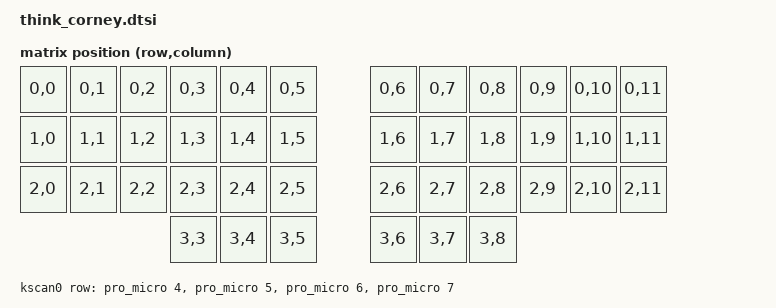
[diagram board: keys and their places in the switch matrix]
/*
 * Copyright (c) 2020 Pete Johanson
 *
 * SPDX-License-Identifier: MIT
 */

#include <dt-bindings/zmk/matrix_transform.h>

/ {
	chosen {
		zmk,kscan = &kscan0;
		zmk,matrix_transform = &default_transform;
	};

	default_transform: keymap_transform_0 {
		compatible = "zmk,matrix-transform";
		columns = <12>;
		rows = <4>;
        map = <
RC(0,0) RC(0,1) RC(0,2) RC(0,3) RC(0,4) RC(0,5)  RC(0,6) RC(0,7) RC(0,8) RC(0,9) RC(0,10) RC(0,11)
RC(1,0) RC(1,1) RC(1,2) RC(1,3) RC(1,4) RC(1,5)  RC(1,6) RC(1,7) RC(1,8) RC(1,9) RC(1,10) RC(1,11)
RC(2,0) RC(2,1) RC(2,2) RC(2,3) RC(2,4) RC(2,5)  RC(2,6) RC(2,7) RC(2,8) RC(2,9) RC(2,10) RC(2,11)
                        RC(3,3) RC(3,4) RC(3,5)  RC(3,6) RC(3,7) RC(3,8)
        >;
	};

	kscan0: kscan {
		compatible = "zmk,kscan-gpio-matrix";

		diode-direction = "col2row";
		row-gpios
			= <&pro_micro 4 (GPIO_ACTIVE_HIGH | GPIO_PULL_DOWN)>
			, <&pro_micro 5 (GPIO_ACTIVE_HIGH | GPIO_PULL_DOWN)>
			, <&pro_micro 6 (GPIO_ACTIVE_HIGH | GPIO_PULL_DOWN)>
			, <&pro_micro 7 (GPIO_ACTIVE_HIGH | GPIO_PULL_DOWN)>
			;

	};
};

// Nice View
&nice_view_spi {
    cs-gpios = <&pro_micro 9 GPIO_ACTIVE_HIGH>;
};

// The PS/2 GPIO driver
/ {
    gpio_ps2: gpio_ps2 {
		status = "disabled";
        compatible = "gpio-ps2";

        // The two bottom left pins of the nice!nano (when it is facing down)
        scl-gpios = <&pro_micro 1 0>;
        sda-gpios = <&pro_micro 0 0>;
    };
};


// UART is designed to use separate pins for receiving and sending.
// But in PS/2 the same pin is used for both.
//
// Here we add two pinctrl states where in one the SDA pin is used for
// receiving and in another where it is used for sending.
// The driver switches between the two states when reading and writing.
&pinctrl {
	// This pinctrl state is used for receiving
	// For `UART_TX`, set an unused and unexposed pin
	// For `UART_RX`, set the PS2 SDA pin number
	uart0_ps2_default: uart0_ps2_default {
		group1 {
			psels = <NRF_PSEL(UART_TX, 0, 27)>,  // Not exposed / P0.27
					<NRF_PSEL(UART_RX, 0, 8)>;  // D0 / P0.08
		};
	};

	// Set this to the same pins as uart0_ps2_default
	uart0_ps2_sleep: uart0_ps2_sleep {
		group1 {
			psels = <NRF_PSEL(UART_TX, 0, 27)>,  // Not exposed / P0.27
					<NRF_PSEL(UART_RX, 0, 8)>;  // D0 / P0.08
			low-power-enable;
		};
	};

	// This pinctrl state is used for sending
	// For `UART_TX`, set the PS2 SDA pin number
	// For `UART_RX`, set an unused and unexposed pin
	uart0_ps2_tx: uart0_ps2_tx {
		group1 {
			psels = <NRF_PSEL(UART_TX, 0, 8)>,  // Not exposed / P0.27
					<NRF_PSEL(UART_RX, 0, 27)>;  // D0 / P0.08
		};
	};

	// This pinctrl state is used when transmitting data.
	// It sets the UART pins to unused pins so that we can control
	// the data pin through GPIO.
	uart0_ps2_off: uart0_ps2_off {
		group1 {
			psels = <NRF_PSEL(UART_TX, 0, 28)>,  // Not exposed / P0.28
					<NRF_PSEL(UART_RX, 0, 27)>;  // Not exposed / P0.27
		};
	};
};

&uart0 {
	status = "disabled";
	compatible = "nordic,nrf-uarte";

	// Actual frequency of PS2 trackpoint: 67us
	// Correspondent baud rate: 14,925
	//
	// Closest available baud rate in zephyr: 14400
	// Correspondent cycle length: 69.44 microseconds
	//
	// Calculations:
	//
	// Convert cycle length in microseconds into baud:
	// 1 / PS2_CYCLE_LENGTH * 1000000 =  BAUD
	// 1 / 67 * 1000000 = 14,925 BAUD
	//
	// Convert baud into cycle length:
	// 1 / BAUD * 1000000 = CYCLE_LEN (in microseconds)
	// 1 / 14400 * 1000000 = 69.44
	//
	current-speed = <14400>;
	pinctrl-0 = <&uart0_ps2_default>;
	pinctrl-1 = <&uart0_ps2_off>;

	pinctrl-names = "default", "sleep";

    uart_ps2: uart_ps2 {
        status="okay";
        compatible = "uart-ps2";
        scl-gpios = <&pro_micro 1 0>;
        sda-gpios = <&pro_micro 0 0>;
    };
};

/ {
    mouse_ps2: mouse_ps2 {
		status = "disabled";
        compatible = "zmk,mouse-ps2";
        // ps2-device = <&gpio_ps2>;
        ps2-device = <&uart_ps2>;

        // Uncomment this if you have an extra free pin and
        // want the controller to perform the Power-On-Reset
        // instead of using a reset circuit.
        //
        // The bottom right pin of the nice!nano (when it is facing down)
        // rst-gpios = <&pro_micro 9 0>;
    };
};
